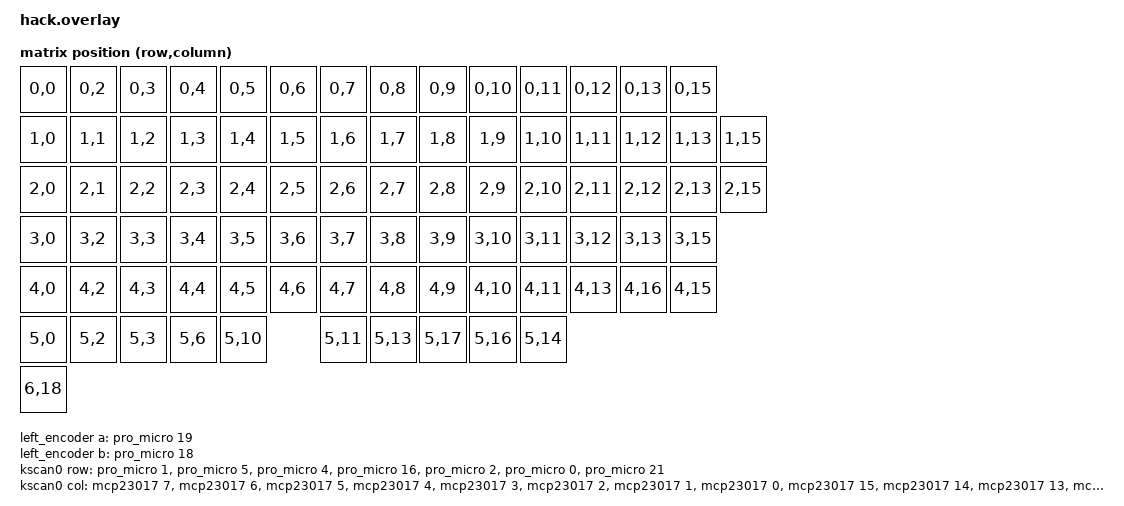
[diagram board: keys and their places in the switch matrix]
#include <dt-bindings/zmk/matrix_transform.h>
#include <dt-bindings/pinctrl/nrf-pinctrl.h>

&i2c0 {
    status = "okay";
    compatible = "nordic,nrf-twim";
    clock-frequency = <I2C_BITRATE_FAST>;    /* 400 kHz */
    pinctrl-0 = <&i2c0_custom>;
    pinctrl-1 = <&i2c0_sleep_custom>;

    mcp23017: mcp23017@20 {
        status = "okay";
        compatible = "microchip,mcp230xx";
        reg = <0x20>;
        #gpio-cells = <2>;
        gpio-controller;
        ngpios = <16>;
        int-gpios = <&gpio0 10 17>;       /* (GPIO_ACTIVE_LOW | GPIO_PULL_UP) */
    };
};

&pinctrl {
    i2c0_custom: i2c0_custom {
        group1 {
            psels = <NRF_PSEL(TWIM_SDA, 1, 0)>,
                <NRF_PSEL(TWIM_SCL, 0, 11)>;
        };
    };

    i2c0_sleep_custom: i2c0_sleep_custom {
        group1 {
            psels = <NRF_PSEL(TWIM_SDA, 1, 0)>,
                <NRF_PSEL(TWIM_SCL, 0, 11)>;
            low-power-enable;
        };
    };
};


/ {
    chosen {
        zmk,kscan0 = &kscan0;
        zmk,physical-layout = &physical_layout0;
    };

    left_encoder: encoder_left {
        compatible = "alps,ec11";
        a-gpios = <&pro_micro 19 (GPIO_ACTIVE_LOW | GPIO_PULL_UP)>;
        b-gpios = <&pro_micro 18 (GPIO_ACTIVE_LOW | GPIO_PULL_UP)>;

        steps = <2>;
        status = "okay";                                                                                                                                                                                                                                                  
    };

    sensors: sensors {
        compatible = "zmk,keymap-sensors";
        sensors = <&left_encoder>;
        sensor-behaviors = <&inc_dec_kp>;
        triggers-per-rotation = <1>;
    };

    kscan0: kscan0 {
        compatible = "zmk,kscan-gpio-matrix";
        diode-direction = "col2row";
        wakeup-source;

        row-gpios
            = <&pro_micro 1 (GPIO_ACTIVE_LOW | GPIO_PULL_UP)>
            , <&pro_micro 5 (GPIO_ACTIVE_LOW | GPIO_PULL_UP)>
            , <&pro_micro 4 (GPIO_ACTIVE_LOW | GPIO_PULL_UP)>
            , <&pro_micro 16 (GPIO_ACTIVE_LOW | GPIO_PULL_UP)>
            , <&pro_micro 2 (GPIO_ACTIVE_LOW | GPIO_PULL_UP)>
            , <&pro_micro 0 (GPIO_ACTIVE_LOW | GPIO_PULL_UP)>
            // -----------------------------
            , <&pro_micro 21 (GPIO_ACTIVE_LOW | GPIO_PULL_UP)>   // encoder SW1
            ;

        col-gpios
            = <&mcp23017 7 GPIO_ACTIVE_LOW>
            , <&mcp23017 6 GPIO_ACTIVE_LOW>
            , <&mcp23017 5 GPIO_ACTIVE_LOW>
            , <&mcp23017 4 GPIO_ACTIVE_LOW>
            , <&mcp23017 3 GPIO_ACTIVE_LOW>
            , <&mcp23017 2 GPIO_ACTIVE_LOW>
            , <&mcp23017 1 GPIO_ACTIVE_LOW>
            , <&mcp23017 0 GPIO_ACTIVE_LOW>
            , <&mcp23017 15 GPIO_ACTIVE_LOW>
            , <&mcp23017 14 GPIO_ACTIVE_LOW>
            , <&mcp23017 13 GPIO_ACTIVE_LOW>
            , <&mcp23017 12 GPIO_ACTIVE_LOW>
            , <&mcp23017 11 GPIO_ACTIVE_LOW>
            , <&mcp23017 10 GPIO_ACTIVE_LOW>
            , <&mcp23017 9 GPIO_ACTIVE_LOW>
            , <&mcp23017 8 GPIO_ACTIVE_LOW> 
            , <&pro_micro 8 GPIO_ACTIVE_LOW>
            , <&pro_micro 9 GPIO_ACTIVE_LOW>
            // -----------------------------
            , <&pro_micro 20 (GPIO_ACTIVE_LOW | GPIO_PULL_UP)>   // encoder SW2
            ;
        };

        default_transform: keymap_transform0 {
            compatible = "zmk,matrix-transform";
            columns = <19>; // Length of the "col-gpios" array
            rows = <7>; // Length of the "row-gpios" array
            map = <
                RC(0,0) RC(0,2) RC(0,3) RC(0,4) RC(0,5) RC(0,6) RC(0,7) RC(0,8) RC(0,9) RC(0,10) RC(0,11) RC(0,12) RC(0,13) RC(0,15)
                RC(1,0) RC(1,1) RC(1,2) RC(1,3) RC(1,4) RC(1,5) RC(1,6) RC(1,7) RC(1,8) RC(1,9) RC(1,10) RC(1,11) RC(1,12) RC(1,13) RC(1,15)
                RC(2,0) RC(2,1) RC(2,2) RC(2,3) RC(2,4) RC(2,5) RC(2,6) RC(2,7) RC(2,8) RC(2,9) RC(2,10) RC(2,11) RC(2,12) RC(2,13) RC(2,15)
                RC(3,0) RC(3,2) RC(3,3) RC(3,4) RC(3,5) RC(3,6) RC(3,7) RC(3,8) RC(3,9) RC(3,10) RC(3,11) RC(3,12) RC(3,13) RC(3,15)
                RC(4,0) RC(4,2) RC(4,3) RC(4,4) RC(4,5) RC(4,6) RC(4,7) RC(4,8) RC(4,9) RC(4,10) RC(4,11) RC(4,13) RC(4,16) RC(4,15)
                RC(5,0) RC(5,2) RC(5,3) RC(5,6) RC(5,10) RC(5,11) RC(5,13) RC(5,17) RC(5,16) RC(5,14)
                // --------------------------------------------------------------------------------------------------------------------------
                RC(6,18) // encoder
            >;
        };
            
        physical_layout0: physical_layout_0 {
            compatible = "zmk,physical-layout";
            display-name = "Default Layout";
            kscan = <&kscan0>;
            transform = <&default_transform>;
        };

        soft_off_wakers {
        compatible = "zmk,soft-off-wakeup-sources";
        wakeup-sources = <&kscan0>;
        };
};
